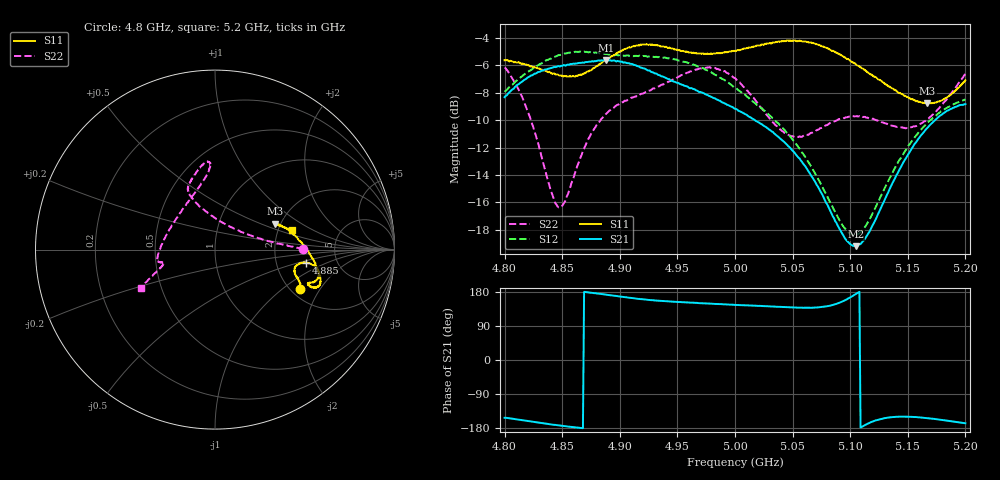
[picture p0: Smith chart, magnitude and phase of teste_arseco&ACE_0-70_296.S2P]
! Network Analyzer HP8722D
! Hewlett-Packard
! Data name: Linha & Wilkinson
! Saver's name: Rodrigo Anjos
! Comments: Teste da utilização de aquisição
! continua pelo VNA HP8722D
! Time and date: 8/5/2025 15:13
!  Frequency  S11  S21  S12  S22
# HZ  S  MA R 50
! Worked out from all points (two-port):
!   401 points, 4.8 GHz to 5.2 GHz, reference 50 ohm
!   highest |S21| = -5.62 dB at 4.888 GHz (marker M1); lowest = -19.2 dB at 5.105 GHz (marker M2)
!   |S21| within 3 dB of the highest: start of sweep to 4.987 GHz
!   lowest |S11| = -8.8 dB at 5.167 GHz (marker M3), VSWR 2.14, Z = 93.5 + j31 ohm
!   |S11| at or under -10 dB: nowhere
!   |S22| runs from -16.4 to -6.1 dB; largest |S21 - S12| = 1.1
!   S11 on the Smith chart (normalised r, x): 4.8 GHz: 2.23, -1.35; 4.885 GHz: 2.98, -0.60; 5.2 GHz: 2.36, +0.65
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4.8e9  0.5225 -24.9  0.3834 -152.6  0.401 7.2  0.4913 0.4
4.818e9  0.5045 -20.8  0.4452 -160.0  0.4671 4.4  0.3588 5.2
4.84e9  0.4697 -17.5  0.4893 -169.6  0.5287 0.9  0.1748 34.4
4.846e9  0.4638 -16.1  0.4968 -172.2  0.5432 -0.1  0.1532 55.4
4.853e9  0.4568 -14.4  0.499 -174.8  0.5525 -1.3  0.1616 81.0
4.867e9  0.4625 -10.8  0.5114 -179.7  0.5593 -3.4  0.2369 106.6
4.885e9  0.5141 -8.3  0.5207 173.8  0.5511 -4.4  0.3224 114.3
4.888e9  0.5221 -8.1  0.5235 172.4  0.5498 -4.5  0.3331 114.8
4.91e9  0.5837 -11.4  0.5068 163.8  0.5428 -3.7  0.3817 112.9
4.934e9  0.5909 -17.0  0.4616 156.2  0.5369 -4.3  0.4197 107.4
4.976e9  0.5523 -20.0  0.3906 149.1  0.4801 -7.7  0.4916 94.6
5e9  0.5654 -20.9  0.3476 145.4  0.4167 -7.8  0.45 94.3
5.042e9  0.6129 -19.1  0.2648 139.8  0.2939 0.2  0.2871 129.7
5.067e9  0.6039 -14.2  0.1965 138.1  0.2114 8.4  0.2844 165.2
5.093e9  0.5417 -4.7  0.1222 154.1  0.1315 33.5  0.3205 -173.9
5.105e9  0.5046 1.0  0.1099 174.5  0.1207 56.8  0.3265 -169.9
5.115e9  0.4723 6.1  0.1208 -168.3  0.1336 75.5  0.323 -168.0
5.134e9  0.4195 15.7  0.1766 -151.6  0.1931 94.0  0.3042 -166.5
5.15e9  0.3829 21.3  0.2361 -149.7  0.2525 98.5  0.2958 -165.1
5.167e9  0.3638 23.3  0.2961 -153.6  0.3087 99.1  0.3188 -161.8
5.182e9  0.3785 21.0  0.3373 -159.2  0.3468 99.2  0.3698 -157.9
5.2e9  0.4414 14.6  0.3615 -167.0  0.3764 99.7  0.4653 -152.4
